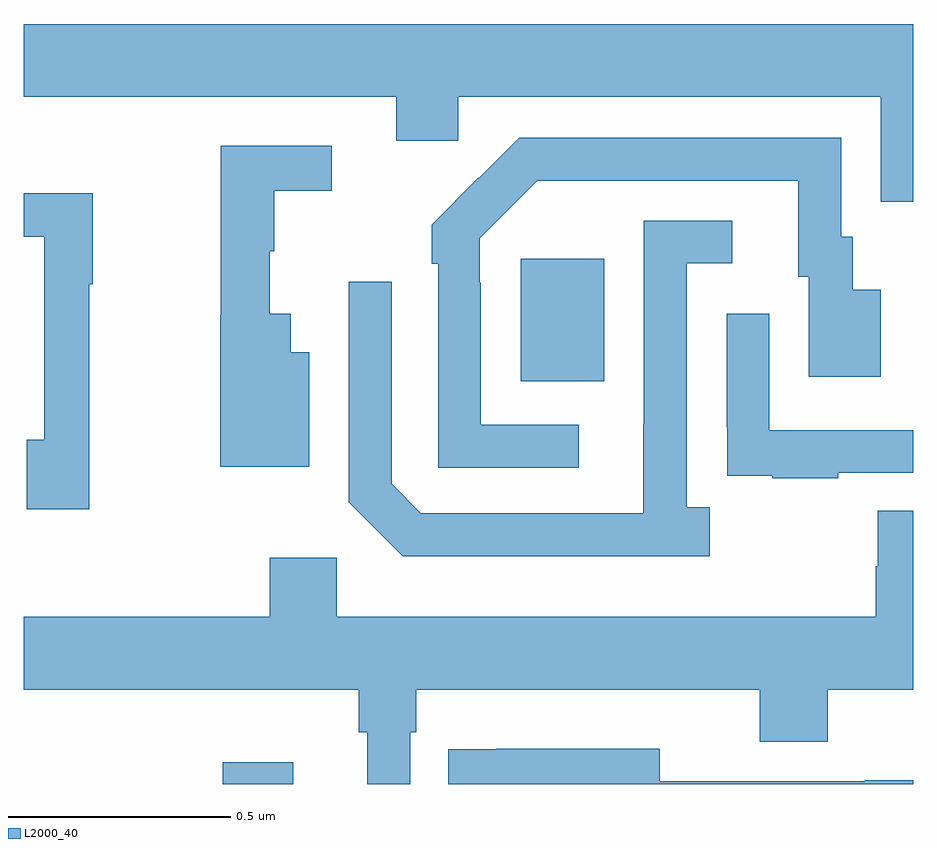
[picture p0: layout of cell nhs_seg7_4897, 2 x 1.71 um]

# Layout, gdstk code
import gdstk
lib = gdstk.Library(unit=1e-6, precision=1e-09)
def R(c, l, rs):  # rectangles x0, y0, x1, y1
    for r in rs: c.add(gdstk.rectangle(r[:2], r[2:], *l))
def P(c, l, *ps):  # polygons
    for p in ps: c.add(gdstk.Polygon(p, *l))
L2000_40 = (2000, 40)

nhs_seg7_4897 = lib.new_cell('nhs_seg7_4897')
R(nhs_seg7_4897, L2000_40, [(178.448,1071,178.606,1071.049), (179.117,1071.905,179.305,1072.18)])
P(nhs_seg7_4897, L2000_40, [(180,1072.708),(178,1072.708),(178,1072.544),(178.838,1072.544),(178.838,1072.446),(178.977,1072.446),(178.977,1072.544),(179.927,1072.544),(179.927,1072.309),(180,1072.309)],
  [(179.248,1071.807),(179.028,1071.807),(179.028,1072.127),(179.025,1072.127),(179.025,1072.227),(179.154,1072.356),(179.741,1072.356),(179.741,1072.14),(179.765,1072.14),(179.765,1071.915),(179.926,1071.915),(179.926,1072.111),(179.863,1072.111),(179.863,1072.23),(179.838,1072.23),(179.838,1072.452),(179.114,1072.452),(179.023,1072.361),(179.022,1072.362),(178.917,1072.257),(178.917,1072.169),(178.932,1072.169),(178.932,1071.711),(179.248,1071.711)],
  [(178.642,1071.97),(178.6,1071.97),(178.6,1072.057),(178.553,1072.057),(178.553,1072.197),(178.564,1072.197),(178.564,1072.333),(178.693,1072.333),(178.693,1072.434),(178.443,1072.434),(178.443,1072.053),(178.442,1072.053),(178.442,1071.713),(178.642,1071.713)],
  [(178.148,1072.123),(178.156,1072.123),(178.156,1072.328),(178,1072.328),(178,1072.23),(178.047,1072.23),(178.047,1071.774),(178.007,1071.774),(178.007,1071.618),(178.148,1071.618)],
  [(179.542,1071.622),(179.49,1071.622),(179.49,1072.17),(179.593,1072.17),(179.593,1072.266),(179.394,1072.266),(179.394,1071.809),(179.393,1071.809),(179.393,1071.609),(178.893,1071.609),(178.827,1071.675),(178.827,1072.129),(178.731,1072.129),(178.731,1071.633),(178.852,1071.512),(179.542,1071.512)],
  [(179.831,1071.699),(180,1071.699),(180,1071.795),(179.676,1071.795),(179.676,1072.057),(179.58,1072.057),(179.58,1071.802),(179.581,1071.802),(179.581,1071.693),(179.683,1071.693),(179.683,1071.687),(179.831,1071.687)],
  [(178.753,1071.116),(178.772,1071.116),(178.772,1071),(178.869,1071),(178.869,1071.116),(178.883,1071.116),(178.883,1071.212),(179.654,1071.212),(179.654,1071.095),(179.807,1071.095),(179.807,1071.212),(180,1071.212),(180,1071.614),(179.92,1071.614),(179.92,1071.489),(179.915,1071.489),(179.915,1071.376),(178.704,1071.376),(178.704,1071.508),(178.553,1071.508),(178.553,1071.376),(178,1071.376),(178,1071.212),(178.753,1071.212)],
  [(180,1071.008),(179.89,1071.008),(179.89,1071.006),(179.43,1071.006),(179.43,1071.079),(179.062,1071.079),(179.062,1071.078),(178.954,1071.078),(178.954,1071),(180,1071)])

lib.write_gds('nhs_seg7_4897.gds')
